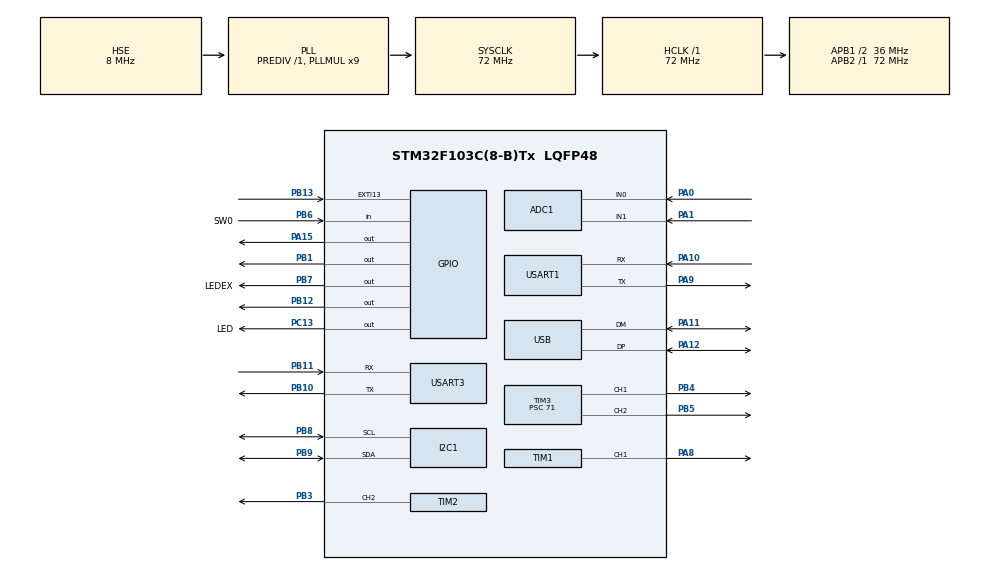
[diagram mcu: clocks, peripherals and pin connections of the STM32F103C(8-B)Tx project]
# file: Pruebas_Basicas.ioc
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ADC1.Channel-0\#ChannelRegularConversion=ADC_CHANNEL_0
ADC1.Channel-1\#ChannelRegularConversion=ADC_CHANNEL_1
ADC1.ContinuousConvMode=ENABLE
ADC1.NbrOfConversion=2
ADC1.NbrOfConversionFlag=1
ADC1.Rank-0\#ChannelRegularConversion=1
ADC1.Rank-1\#ChannelRegularConversion=2
ADC1.SamplingTime-0\#ChannelRegularConversion=ADC_SAMPLETIME_71CYCLES_5
ADC1.SamplingTime-1\#ChannelRegularConversion=ADC_SAMPLETIME_71CYCLES_5
ADC1.master=1
Dma.ADC1.1.Direction=DMA_PERIPH_TO_MEMORY
Dma.ADC1.1.Instance=DMA1_Channel1
Dma.ADC1.1.MemDataAlignment=DMA_MDATAALIGN_HALFWORD
Dma.ADC1.1.MemInc=DMA_MINC_ENABLE
Dma.ADC1.1.Mode=DMA_CIRCULAR
Dma.ADC1.1.PeriphDataAlignment=DMA_PDATAALIGN_HALFWORD
Dma.ADC1.1.PeriphInc=DMA_PINC_DISABLE
Dma.ADC1.1.Priority=DMA_PRIORITY_LOW
Dma.I2C1_TX.0.Direction=DMA_MEMORY_TO_PERIPH
Dma.I2C1_TX.0.Instance=DMA1_Channel6
Dma.I2C1_TX.0.MemDataAlignment=DMA_MDATAALIGN_BYTE
Dma.I2C1_TX.0.MemInc=DMA_MINC_ENABLE
Dma.I2C1_TX.0.Mode=DMA_NORMAL
Dma.I2C1_TX.0.PeriphDataAlignment=DMA_PDATAALIGN_BYTE
Dma.I2C1_TX.0.PeriphInc=DMA_PINC_DISABLE
Dma.I2C1_TX.0.Priority=DMA_PRIORITY_LOW
Dma.Request0=I2C1_TX
Dma.Request1=ADC1
Mcu.Family=STM32F1
Mcu.Name=STM32F103C(8-B)Tx
Mcu.Package=LQFP48
NVIC.DMA1_Channel1_IRQn=true\:0\:0\:false\:false\:true\:false\:true\:true
NVIC.DMA1_Channel6_IRQn=true\:0\:0\:false\:false\:true\:false\:true\:true
NVIC.EXTI15_10_IRQn=true\:0\:0\:false\:false\:true\:true\:true\:true
NVIC.I2C1_ER_IRQn=true\:0\:0\:false\:false\:true\:true\:true\:true
NVIC.I2C1_EV_IRQn=true\:0\:0\:false\:false\:true\:true\:true\:true
NVIC.PriorityGroup=NVIC_PRIORITYGROUP_4
NVIC.TIM1_UP_IRQn=true\:0\:0\:false\:false\:true\:true\:true\:true
NVIC.TIM4_IRQn=true\:0\:0\:false\:false\:true\:true\:true\:true
NVIC.USART3_IRQn=true\:0\:0\:false\:false\:true\:true\:true\:true
NVIC.USB_LP_CAN1_RX0_IRQn=true\:0\:0\:false\:false\:true\:false\:true\:true
PA0-WKUP.Signal=ADCx_IN0
PA1.Signal=ADCx_IN1
PA10.Mode=Asynchronous
PA10.Signal=USART1_RX
PA11.Mode=Device
PA11.Signal=USB_DM
PA12.Mode=Device
PA12.Signal=USB_DP
PA15.Signal=GPIO_Output
PA8.Signal=S_TIM1_CH1
PA9.Mode=Asynchronous
PA9.Signal=USART1_TX
PB1.Signal=GPIO_Output
PB10.Mode=Asynchronous
PB10.Signal=USART3_TX
PB11.Mode=Asynchronous
PB11.Signal=USART3_RX
PB12.Signal=GPIO_Output
PB13.Signal=GPXTI13
PB3.Signal=S_TIM2_CH2
PB4.Signal=S_TIM3_CH1
PB5.Signal=S_TIM3_CH2
PB6.GPIO_Label=SW0
PB6.GPIO_PuPd=GPIO_PULLUP
PB6.Signal=GPIO_Input
PB7.GPIO_Label=LEDEX
PB7.Signal=GPIO_Output
PB8.Mode=I2C
PB8.Signal=I2C1_SCL
PB9.Mode=I2C
PB9.Signal=I2C1_SDA
PC13-TAMPER-RTC.GPIO_Label=LED
PC13-TAMPER-RTC.Signal=GPIO_Output
PC14-OSC32_IN.Mode=LSE-External-Oscillator
PC14-OSC32_IN.Signal=RCC_OSC32_IN
PC15-OSC32_OUT.Mode=LSE-External-Oscillator
PC15-OSC32_OUT.Signal=RCC_OSC32_OUT
PD0-OSC_IN.Mode=HSE-External-Oscillator
PD0-OSC_IN.Signal=RCC_OSC_IN
PD1-OSC_OUT.Mode=HSE-External-Oscillator
PD1-OSC_OUT.Signal=RCC_OSC_OUT
ProjectManager.HeapSize=0x200
ProjectManager.StackSize=0x400
ProjectManager.TargetToolchain=STM32CubeIDE
RCC.ADCPresc=RCC_ADCPCLK2_DIV6
RCC.AHBFreq_Value=72000000
RCC.APB1CLKDivider=RCC_HCLK_DIV2
RCC.APB1Freq_Value=36000000
RCC.APB1TimFreq_Value=72000000
RCC.APB2Freq_Value=72000000
RCC.APB2TimFreq_Value=72000000
RCC.HCLKFreq_Value=72000000
RCC.PLLMUL=RCC_PLL_MUL9
RCC.PLLSourceVirtual=RCC_PLLSOURCE_HSE
RCC.SYSCLKFreq_VALUE=72000000
RCC.SYSCLKSource=RCC_SYSCLKSOURCE_PLLCLK
RCC.USBFreq_Value=48000000
RCC.USBPrescaler=RCC_USBCLKSOURCE_PLL_DIV1_5
SH.ADCx_IN0.0=ADC1_IN0,IN0
SH.ADCx_IN1.0=ADC1_IN1,IN1
SH.S_TIM1_CH1.0=TIM1_CH1,PWM Generation1 CH1
SH.S_TIM2_CH2.0=TIM2_CH2,PWM Generation2 CH2
SH.S_TIM3_CH1.0=TIM3_CH1,PWM Generation1 CH1
SH.S_TIM3_CH2.0=TIM3_CH2,PWM Generation2 CH2
TIM1.AutoReloadPreload=TIM_AUTORELOAD_PRELOAD_DISABLE
TIM1.Channel-PWM\ Generation1\ CH1=TIM_CHANNEL_1
TIM1.Period=19999
TIM1.Prescaler=71
TIM2.Channel-PWM\ Generation2\ CH2=TIM_CHANNEL_2
TIM2.Period=9999
TIM2.Prescaler=71
TIM3.Channel-PWM\ Generation1\ CH1=TIM_CHANNEL_1
TIM3.Channel-PWM\ Generation2\ CH2=TIM_CHANNEL_2
TIM3.Period=9999
TIM3.Prescaler=71
TIM4.AutoReloadPreload=TIM_AUTORELOAD_PRELOAD_ENABLE
TIM4.Period=9999
TIM4.Prescaler=72
USART1.VirtualMode=VM_ASYNC
USART3.VirtualMode=VM_ASYNC
USB_DEVICE.CLASS_NAME_FS=CDC
USB_DEVICE.VirtualMode=Cdc
USB_DEVICE.VirtualModeFS=Cdc_FS
VP_SYS_VS_ND.Mode=No_Debug
VP_TIM1_VS_ClockSourceINT.Mode=Internal
VP_TIM4_VS_ClockSourceINT.Mode=Internal
VP_USB_DEVICE_VS_USB_DEVICE_CDC_FS.Mode=CDC_FS
board=custom

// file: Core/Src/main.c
/* USER CODE BEGIN Header */
/**
  ******************************************************************************
  * @file           : main.c
  * @brief          : Main program body
  ******************************************************************************
  * @attention
  *
  * Copyright (c) 2025 STMicroelectronics.
  * All rights reserved.
  *
  * This software is licensed under terms that can be found in the LICENSE file
  * in the root directory of this software component.
  * If no LICENSE file comes with this software, it is provided AS-IS.
  *
  ******************************************************************************
  */
/* USER CODE END Header */
#include "main.h"
#include "adc.h"
#include "dma.h"
#include "i2c.h"
#include "tim.h"
#include "usart.h"
#include "usb_device.h"
#include "gpio.h"

/* USER CODE BEGIN Includes */
#include "usbd_cdc_if.h"
#include <stdio.h>
#include <string.h>
#include "sh1106.h"
#include "motor.h"
#include "ultrasonic.h"
#include "ESP01.h"
/* USER CODE END Includes */

/* USER CODE BEGIN PTD */
typedef enum{
    BUTTON_UP,
    BUTTON_FALLING,
    BUTTON_DOWN,
    BUTTON_RISING
} _eButtonState;

typedef enum {
    MODO_WIFI_IP = 0,
    MODO_MOTORES_SERVO,
    MODO_ULTRASONICO,
    MODO_LINEA_ADC
} ModoDemo_t;
/* USER CODE END PTD */

/* USER CODE BEGIN PV */
/* handler declaration*/
extern TIM_HandleTypeDef htim1;
extern UART_HandleTypeDef huart1;
extern I2C_HandleTypeDef hi2c1;

uint8_t button_pressed_flag = 0;
_eButtonState button_state = BUTTON_UP;

volatile uint8_t boton_presionado = 0;

/*Variable para debuggear el ultrasonico*/
volatile uint32_t eco_interrupciones = 0;

char msg[32];
uint8_t texto[] = "Mensaje STM32\r\n";
uint8_t flagSec = 0;

/*Variable de prueba*/
uint32_t valores = 10;

/*Variables para el USB*/
uint8_t  BufUSBRx[256];
uint8_t  nByteTx = 0;
uint8_t  flagUSBRx = 0;

uint8_t rx_byte; // Variable temporal para la interrupción de USART3
_sESP01Handle miESP01; // Estructura de control del ESP-01

volatile ModoDemo_t modo_actual = MODO_WIFI_IP;
char wifi_ip[16] = "Conectando...";

//volatile uint16_t valor_tcrt = 0;       // El ADC es de 12 bits (0 a 4095)
//volatile uint8_t adc_actualizado = 0;   // Bandera de interrupción
volatile uint16_t adc_buffer[2]; // adc_buffer[0] = PA0, adc_buffer[1] = PA1

/* USER CODE END PV */

void SystemClock_Config(void);
/* USER CODE BEGIN PFP */
void HAL_TIM_PeriodElapsedCallback(TIM_HandleTypeDef *htim);
void HAL_I2C_MemTxCpltCallback(I2C_HandleTypeDef *hi2c);
void button_update();
void trans_por_uart1();
void Test_BothMotors(void);
void HAL_GPIO_EXTI_Callback(uint16_t GPIO_Pin);
void Test_Ultrasonic(void);
void USBRXX(uint8_t *Buf, uint32_t Len);
void Servo_SetAngle(uint8_t angle);
void Test_Servo(void);
int ESP01_EscribirUSART(uint8_t value);
void ESP01_ControlarCHPD(uint8_t value);
void ESP01_RecibirPayload(uint8_t value);
void HAL_UART_RxCpltCallback(UART_HandleTypeDef *huart);
void Test_TCRT5000(void);
/* USER CODE END PFP */

int main(void)
{

  /* MCU Configuration--------------------------------------------------------*/

  /* Reset of all peripherals, Initializes the Flash interface and the Systick. */
  HAL_Init();

  /* Configure the system clock */
  SystemClock_Config();

  /* Initialize all configured peripherals */
  MX_GPIO_Init();
  MX_DMA_Init();
  MX_TIM1_Init();
  MX_USART1_UART_Init();
  MX_USB_DEVICE_Init();
  MX_I2C1_Init();
  MX_TIM2_Init();
  MX_TIM3_Init();
  MX_TIM4_Init();
  MX_USART3_UART_Init();
  MX_ADC1_Init();
  /* USER CODE BEGIN 2 */

  // Necesario para el control de los motores
  __HAL_RCC_AFIO_CLK_ENABLE();      // Habilita reloj de funciones alternativas
  __HAL_AFIO_REMAP_SWJ_NOJTAG();    // Libera PB3, PB4 y PB15 apagando el JTAG

  // === INICIO TIM1 (Botón + Servo) ===
  HAL_TIM_Base_Start_IT(&htim1);
  HAL_TIM_PWM_Start(&htim1, TIM_CHANNEL_1);  // Enciende la señal PWM en PA8

  // === INICIO TIM4 (Temporizador ESP-01) ===
  HAL_TIM_Base_Start_IT(&htim4);

  Motor_Init(&htim3, &htim2);
  // === INICIO OLED ===
  //if (OLED_Init(&hi2c1) == 0) {
  //    OLED_Clear();
  //    OLED_DrawString(10, 10, "DISPLAY OK!", 1);
  //    OLED_DrawString(10, 30, "Modo: FASE 2", 1);
  //    OLED_Update(); // Dispara el envío por DMA
  //}
  OLED_Init(&hi2c1);

  //HAL_USART_Init(&huart1);

  // === INICIALIZACIÓN ESP-01 ===
  // 1. Llenamos la estructura con nuestras funciones puente
  miESP01.WriteUSARTByte = ESP01_EscribirUSART;
  miESP01.DoCHPD = ESP01_ControlarCHPD;
  miESP01.WriteByteToBufRX = ESP01_RecibirPayload;

  ESP01_Init(&miESP01);
  // 2. Configuramos la red Wi-Fi (Poné el nombre y clave del router de tu casa/taller)
  ESP01_SetWIFI(" Red Haffner", "21669051");

  // 3. Dejamos escuchando a la interrupción de la USART3
  HAL_UART_Receive_IT(&huart3, &rx_byte, 1);
  // Arrancamos el ADC conectado al motor DMA para que corra de fondo
  HAL_ADC_Start_DMA(&hadc1, (uint32_t*)adc_buffer, 2);

  //Test_Servo();
  //Test_TCRT5000();
  //Test_Ultrasonic();
  //Test_BothMotors();
  /* USER CODE END 2 */

  /* Infinite loop */
  while (1)
  {

    /* USER CODE BEGIN 3 */

	    // La máquina de estados principal corre a máxima velocidad
	    //ESP01_Task();

	    // Control de conexión UDP
	    //static uint8_t udp_iniciado = 0;
	    //if (ESP01_StateWIFI() == ESP01_WIFI_CONNECTED && !udp_iniciado) {
	    	// Nos conectamos a una IP destino y puertos locales/remotos
	    	// (Reemplazá la IP por la de tu compu si querés mandarle datos)
	    //	ESP01_StartUDP("192.168.0.11", 30000, 30000);
	    //    udp_iniciado = 1;
	    //}

	    //if(flagUSBRx){
	    //    if(CDC_Transmit_FS(BufUSBRx, nByteTx) == USBD_OK){
	    //        flagUSBRx = 0;   // limpia solo si se envió bien
	    //    }
	    //}
	     ESP01_Task();

	      static uint8_t udp_iniciado = 0;
	      if (ESP01_StateWIFI() == ESP01_WIFI_CONNECTED && !udp_iniciado) {
	          ESP01_StartUDP("192.168.0.11", 30000, 30000);
	          udp_iniciado = 1;
	      }

	      if(flagUSBRx){
	          if(CDC_Transmit_FS(BufUSBRx, nByteTx) == USBD_OK){
	              flagUSBRx = 0;
	          }
	      }
/*
	      // --- 2. CONTROL DE PANTALLAS (Máquina de Estados) ---
	      if (boton_presionado) {
	          boton_presionado = 0;
	          OLED_Clear();
	          Motor_BrakeAll(); // Seguridad al cambiar de pantalla
	      }

	      switch (modo_actual) {

	          case MODO_WIFI_IP:
	              OLED_DrawString(0, 0, "1. TELEMETRIA WIFI", 1);
	              OLED_DrawString(0, 15, "Red: Red Haffner", 1);
	              OLED_DrawString(0, 30, "IP:", 1);
	              OLED_DrawString(25, 30, wifi_ip, 1);
	              OLED_DrawString(0, 48, "Status: UDP Activo", 1);
	              OLED_Update();
	              break;

	          case MODO_MOTORES_SERVO:
	              OLED_DrawString(0, 0, "2. ACTUADORES", 1);
	              OLED_DrawString(0, 20, "Motores: Test", 1);
	              OLED_DrawString(0, 35, "Servo: Test", 1);
	              OLED_Update();

	              uint32_t tiempo = HAL_GetTick() % 4000;
	              if (tiempo < 1000) {
	                  Motor_SetSpeed(MOTOR_LEFT, 5000);
	                  Motor_SetSpeed(MOTOR_RIGHT, 5000);
	                  Servo_SetAngle(0);
	              } else if (tiempo < 2000) {
	                  Motor_BrakeAll();
	                  Servo_SetAngle(90);
	              } else if (tiempo < 3000) {
	                  Motor_SetSpeed(MOTOR_LEFT, -5000);
	                  Motor_SetSpeed(MOTOR_RIGHT, -5000);
	                  Servo_SetAngle(180);
	              } else {
	                  Motor_BrakeAll();
	                  Servo_SetAngle(90);
	              }
	              break;

	          case MODO_ULTRASONICO:
	              US_Trigger();
	              HAL_Delay(50);
	              float distancia = US_GetDistance(); // OJO: Si el cable está mal, se traba acá

	              OLED_DrawString(0, 0, "3. ULTRASONICO", 1);
	              if (distancia > 0.0f) {
	                  OLED_DrawFloat(0, 25, distancia, 1, 1);
	                  OLED_DrawString(35, 25, "cm", 1);
	                  uint8_t barra = (distancia > 50.0f) ? 128 : (uint8_t)((distancia * 128.0f) / 50.0f);
	                  OLED_FillRect(0, 40, barra, 8, 1);
	              } else {
	                  OLED_DrawString(0, 25, "Falla hardware", 1);
	              }
	              OLED_Update();
	              break;

	          case MODO_LINEA_ADC:
	              OLED_DrawString(0, 0, "4. SENSORES LINEA", 1);
	              OLED_DrawString(0, 20, "S1:", 1);
	              OLED_DrawInt(25, 20, adc_buffer[0], 1);
	              OLED_FillRect(0, 32, (adc_buffer[0] * 128) / 4095, 5, 1);

	              OLED_DrawString(0, 42, "S2:", 1);
	              OLED_DrawInt(25, 42, adc_buffer[1], 1);
	              OLED_FillRect(0, 54, (adc_buffer[1] * 128) / 4095, 5, 1);

	              OLED_Update();
	              HAL_Delay(50);
	              break;
	      }

*/

  }
  /* USER CODE END 3 */
}

void SystemClock_Config(void)
{
  RCC_OscInitTypeDef RCC_OscInitStruct = {0};
  RCC_ClkInitTypeDef RCC_ClkInitStruct = {0};
  RCC_PeriphCLKInitTypeDef PeriphClkInit = {0};

  /** Initializes the RCC Oscillators according to the specified parameters
  * in the RCC_OscInitTypeDef structure.
  */
  RCC_OscInitStruct.OscillatorType = RCC_OSCILLATORTYPE_HSE;
  RCC_OscInitStruct.HSEState = RCC_HSE_ON;
  RCC_OscInitStruct.HSEPredivValue = RCC_HSE_PREDIV_DIV1;
  RCC_OscInitStruct.HSIState = RCC_HSI_ON;
  RCC_OscInitStruct.PLL.PLLState = RCC_PLL_ON;
  RCC_OscInitStruct.PLL.PLLSource = RCC_PLLSOURCE_HSE;
  RCC_OscInitStruct.PLL.PLLMUL = RCC_PLL_MUL9;
  if (HAL_RCC_OscConfig(&RCC_OscInitStruct) != HAL_OK)
  {
    Error_Handler();
  }

  /** Initializes the CPU, AHB and APB buses clocks
  */
  RCC_ClkInitStruct.ClockType = RCC_CLOCKTYPE_HCLK|RCC_CLOCKTYPE_SYSCLK
                              |RCC_CLOCKTYPE_PCLK1|RCC_CLOCKTYPE_PCLK2;
  RCC_ClkInitStruct.SYSCLKSource = RCC_SYSCLKSOURCE_PLLCLK;
  RCC_ClkInitStruct.AHBCLKDivider = RCC_SYSCLK_DIV1;
  RCC_ClkInitStruct.APB1CLKDivider = RCC_HCLK_DIV2;
  RCC_ClkInitStruct.APB2CLKDivider = RCC_HCLK_DIV1;

  if (HAL_RCC_ClockConfig(&RCC_ClkInitStruct, FLASH_LATENCY_2) != HAL_OK)
  {
    Error_Handler();
  }
  PeriphClkInit.PeriphClockSelection = RCC_PERIPHCLK_ADC|RCC_PERIPHCLK_USB;
  PeriphClkInit.AdcClockSelection = RCC_ADCPCLK2_DIV6;
  PeriphClkInit.UsbClockSelection = RCC_USBCLKSOURCE_PLL_DIV1_5;
  if (HAL_RCCEx_PeriphCLKConfig(&PeriphClkInit) != HAL_OK)
  {
    Error_Handler();
  }
}

/* USER CODE BEGIN 4 */
/*
void button_update(void) {

    switch(button_state)
    {
        case BUTTON_UP:
            if (!HAL_GPIO_ReadPin(SW0_GPIO_Port, SW0_Pin)) {
                button_state = BUTTON_FALLING;
            }
            break;

        case BUTTON_FALLING:
            if (!HAL_GPIO_ReadPin(SW0_GPIO_Port, SW0_Pin)) {
                button_state = BUTTON_DOWN;

                // ¡ACÁ ES EL MOMENTO EXACTO DE LA PULSACIÓN CONFIRMADA!
                // Avanzamos al siguiente modo de la pantalla
                modo_actual++;
                if (modo_actual > MODO_LINEA_ADC) {
                    modo_actual = MODO_WIFI_IP; // Reiniciamos el lazo circular
                }
                boton_presionado = 1; // Le avisa al while(1) que limpie el OLED

            } else {
                button_state = BUTTON_UP;
            }
            break;

        case BUTTON_DOWN:
            if (HAL_GPIO_ReadPin(SW0_GPIO_Port, SW0_Pin)) {
                button_state = BUTTON_RISING;
            }
            break;

        case BUTTON_RISING:
            if (HAL_GPIO_ReadPin(SW0_GPIO_Port, SW0_Pin)) {
                button_state = BUTTON_UP;
            } else {
                button_state = BUTTON_DOWN;
            }
            break;

        default:
            button_state = BUTTON_UP;
            break;
    }
}
*/

void button_update(void) {
    // Máquina de estados ultra simplificada para el botón
    switch(button_state) {
        case 0: // UP
            if (!HAL_GPIO_ReadPin(SW0_GPIO_Port, SW0_Pin)) button_state = 1;
            break;
        case 1: // FALLING (Pulsación confirmada)
            if (!HAL_GPIO_ReadPin(SW0_GPIO_Port, SW0_Pin)) {
                modo_actual++;
                if (modo_actual > MODO_LINEA_ADC) modo_actual = MODO_WIFI_IP;
                boton_presionado = 1;
                button_state = 2;
            } else button_state = 0;
            break;
        case 2: // DOWN
            if (HAL_GPIO_ReadPin(SW0_GPIO_Port, SW0_Pin)) button_state = 3;
            break;
        case 3: // RISING
            if (HAL_GPIO_ReadPin(SW0_GPIO_Port, SW0_Pin)) button_state = 0;
            else button_state = 2;
            break;
    }
}
void trans_por_uart1(){

	flagSec++;
	if(flagSec>=9){

		sprintf(msg,"enviado por usart1. %lu\r\n", valores);
		HAL_UART_Transmit(&huart1, (uint8_t*)msg, strlen(msg), HAL_MAX_DELAY);

		flagSec=0;
	}
}

void HAL_TIM_PeriodElapsedCallback(TIM_HandleTypeDef *htim){

    // Esta variable no pierde su valor entre interrupciones
    static uint8_t divisor_100ms = 0;

    if(htim->Instance == TIM1){  // <--- Usar htim
        // 1. El botón se actualiza cada 20ms
        button_update();

        // 2. Escalador: Solo entramos acá 1 de cada 5 veces
        divisor_100ms++;
        if(divisor_100ms >= 5){
            HAL_GPIO_TogglePin(LED_GPIO_Port, LED_Pin);
            if(button_pressed_flag){
                HAL_GPIO_TogglePin(LEDEX_GPIO_Port, LEDEX_Pin);
                trans_por_uart1();
            } else {
                HAL_GPIO_WritePin(LEDEX_GPIO_Port, LEDEX_Pin, GPIO_PIN_RESET);
            }
            divisor_100ms = 0;
        }
    }

    // --- RUTINA TIM4: Base de tiempo ESP-01 (Se ejecuta cada 10ms exactos) ---
    if(htim->Instance == TIM4){ // <--- Usar htim
        ESP01_Timeout10ms();
    }
}

void HAL_I2C_MemTxCpltCallback(I2C_HandleTypeDef *hi2c){
    // Esta función la llama el hardware automáticamente cuando el DMA termina
    OLED_DMA_TxCpltCallback(hi2c);
}

void HAL_GPIO_EXTI_Callback(uint16_t GPIO_Pin){
    // Si la interrupción viene del pin 13 (Echo del sensor)
    if(GPIO_Pin == GPIO_PIN_13){
    	eco_interrupciones++;
    	US_EXTI_Callback();
    }
}

void Test_Ultrasonic(void){
    // Inicializamos el sensor (activa el DWT internamente)
    US_Init();

    // Pantalla de bienvenida
    OLED_Clear();
    OLED_DrawString(10, 0, "SENSOR ACTIVO", 1);
    OLED_Update();
    HAL_Delay(1000);

    while (1) {

        // 1. Disparamos la ráfaga de ultrasonido
        US_Trigger();

        // 2. Esperamos un tiempo prudencial para que el sonido vuelva (max 25ms)
        HAL_Delay(60);

        // 3. Le pedimos a la librería que haga el cálculo
        float dist = US_GetDistance();

        // --- ACTUALIZACIÓN DE PANTALLA ---
        OLED_Clear();
        OLED_DrawString(10, 0, "TEST ULTRASONICO", 1);
        OLED_DrawHLine(0, 10, 128, 1);

        if (dist > 0) {
            OLED_DrawString(0, 30, "Distancia:", 1);
            // Dibujamos el float directo con 1 decimal
            OLED_DrawFloat(65, 30, dist, 1, 1);
            OLED_DrawString(105, 30, "cm", 1);

            // Barra gráfica para visualizar el rebote
            uint8_t barra = (uint8_t)(dist);
            if(barra > 128) barra = 128;
            OLED_FillRect(0, 50, barra, 10, 1);
        } else {
            // Si el driver devuelve -1.0f (timeout o fuera de rango)
            OLED_DrawString(0, 30, "Sin lectura", 1);
        }

        // Mandamos el frame por DMA
        OLED_Update();

        // Completamos el ciclo para no saturar la pantalla
        HAL_Delay(440);
    }
}

/**
  * @brief  Mueve el servo a un ángulo específico (0 a 180 grados)
  * @param  angle: Grados deseados
  */
void Servo_SetAngle(uint8_t angle){
    if(angle > 180) angle = 180;

    // Mapeo lineal: 0° -> 0.5ms (500 cuentas) | 180° -> 2.5ms (2500 cuentas)
    uint32_t compare_value = 500 + ((angle * 2000) / 180);

    // Cargamos el registro del TIM1 Canal 1 (Pin PA8)
    __HAL_TIM_SET_COMPARE(&htim1, TIM_CHANNEL_1, compare_value);
}

void Test_Servo(void){
    while(1)
    {
        //Servo_SetAngle(0);
        //HAL_Delay(1000);

        //Servo_SetAngle(90);
        //HAL_Delay(1000);

        //Servo_SetAngle(180);
        //HAL_Delay(1000);

        //Servo_SetAngle(90);
        //HAL_Delay(1000);

        Servo_SetAngle(10);  // En vez de 0, lo dejamos respirar
	    HAL_Delay(1000);

        Servo_SetAngle(90);
        HAL_Delay(1000);

        Servo_SetAngle(170); // En vez de 180, evitamos el tope físico
        HAL_Delay(1000);

        Servo_SetAngle(90);
        HAL_Delay(1000);
    }
}

void Test_BothMotors(void){
    // Inicializa los drivers usando los timers de tu main
    Motor_Init(&htim3, &htim2);

    int16_t speed = 5000;  // 50% de la velocidad máxima (9999)

    while (1) {
        // Adelante
        Motor_SetSpeed(MOTOR_LEFT, speed);
        Motor_SetSpeed(MOTOR_RIGHT, speed);
        HAL_Delay(2000);

        // Frenar
        //Motor_BrakeAll();
        //HAL_Delay(1000);

        // Reversa
        //Motor_SetSpeed(MOTOR_LEFT, -speed);
        //Motor_SetSpeed(MOTOR_RIGHT, -speed);
        //HAL_Delay(2000);

        // Frenar
        //Motor_BrakeAll();
        //HAL_Delay(1000);

        // Giro derecha (izq adelante, der reversa)
        //Motor_SetSpeed(MOTOR_LEFT, speed);
        //Motor_SetSpeed(MOTOR_RIGHT, -speed);
        //HAL_Delay(1500);

        //Motor_BrakeAll();
        //HAL_Delay(1000);

        // Giro izquierda
        //Motor_SetSpeed(MOTOR_LEFT, -speed);
        //Motor_SetSpeed(MOTOR_RIGHT, speed);
        //HAL_Delay(1500);

        //Motor_BrakeAll();
        //HAL_Delay(1000);
    }
}

// --- PUENTES PARA LA LIBRER�?A ESP-01 ---

// 1. Función para enviar 1 byte al ESP-01 por USART3
int ESP01_EscribirUSART(uint8_t value) {
    // Usamos un timeout super corto (2ms) para no bloquear el robot
    if(HAL_UART_Transmit(&huart3, &value, 1, 2) == HAL_OK) return 1;
    return 0;
}

// 2. Función para resetear el chip físicamente (Supongamos pin PB1)
void ESP01_ControlarCHPD(uint8_t value) {
    // Cambiá GPIOB y GPIO_PIN_1 por el puerto y pin que configures en CubeMX
    if(value) {
        HAL_GPIO_WritePin(GPIOB, GPIO_PIN_1, GPIO_PIN_SET);
    } else {
        HAL_GPIO_WritePin(GPIOB, GPIO_PIN_1, GPIO_PIN_RESET);
    }
}

// 3. Función donde caen los comandos limpios (tu Payload)
void ESP01_RecibirPayload(uint8_t value) {
    // Acá van a llegar los datos del joystick o de la PC por UDP.
    // Por ahora lo mandamos a la consola USB para espiarlo:
    //char debug_msg[16];
    //sprintf(debug_msg, "RX: %c\r\n", value);
    //USBRXX((uint8_t*)debug_msg, strlen(debug_msg));

    char debug_msg[16];
    sprintf(debug_msg, "RX: %c\r\n", value);

    // Redirigimos la salida a la UART1 (Conversor TTL)
    // Le ponemos un timeout de 10ms para no trabar el robot
    HAL_UART_Transmit(&huart1, (uint8_t*)debug_msg, strlen(debug_msg), 10);
}

// 4. Interrupción de Recepción USART (Se llama sola cuando llega un byte)
void HAL_UART_RxCpltCallback(UART_HandleTypeDef *huart) {
    if(huart->Instance == USART3) {
        // Sniffer ultra rápido de IP
        static uint8_t idx = 0, capturando = 0, match_idx = 0;
        static const char match[] = "STAIP,\"";

        if (!capturando) {
            if (rx_byte == match[match_idx]) {
                match_idx++;
                if (match[match_idx] == '\0') { capturando = 1; idx = 0; match_idx = 0; }
            } else match_idx = (rx_byte == match[0]) ? 1 : 0;
        } else {
            if (rx_byte == '"' || idx >= 15) { wifi_ip[idx] = '\0'; capturando = 0; idx = 0; }
            else wifi_ip[idx++] = rx_byte;
        }

        ESP01_WriteRX(rx_byte);
        HAL_UART_Receive_IT(&huart3, &rx_byte, 1);
    }
}

void Test_TCRT5000(void) {
    OLED_Clear();
    OLED_DrawString(0, 0, "CALIBRACION DMA", 1);
    OLED_Update();
    HAL_Delay(1000);

    // Arrancamos el ADC conectado al motor DMA (modo circular)
    // El hardware se encarga de mantener adc_buffer SIEMPRE actualizado
    HAL_ADC_Start_DMA(&hadc1, (uint32_t*)adc_buffer, 2);

    while(1) {
        OLED_Clear();
        OLED_DrawString(0, 0, "Sensores TCRT5000", 1);

        // Sensor 1 (PA0)
        OLED_DrawString(0, 20, "S1:", 1);
        OLED_DrawInt(25, 20, adc_buffer[0], 1);
        uint8_t barra1 = (adc_buffer[0] * 128) / 4095;
        OLED_FillRect(0, 32, barra1, 5, 1);

        // Sensor 2 (PA1)
        OLED_DrawString(0, 42, "S2:", 1);
        OLED_DrawInt(25, 42, adc_buffer[1], 1);
        uint8_t barra2 = (adc_buffer[1] * 128) / 4095;
        OLED_FillRect(0, 54, barra2, 5, 1);

        OLED_Update();

        HAL_Delay(50); // Refresco visual rápido
    }
}

void USBRXX(uint8_t *Buf, uint32_t Len){

    BufUSBRx[0] = 'U';
    BufUSBRx[1] = 'S';
    BufUSBRx[2] = 'B';
    BufUSBRx[3] = ' ';

    for(uint32_t i=0; i<Len; i++){
        BufUSBRx[i+4] = Buf[i];
    }

    nByteTx   = Len + 4;
    flagUSBRx = 1;         // avisa al while(1) que hay dato
}
/* USER CODE END 4 */

void Error_Handler(void)
{
  __disable_irq();
  while (1)
  {
  }
}
